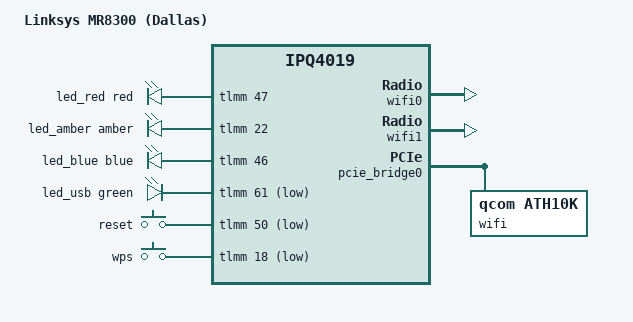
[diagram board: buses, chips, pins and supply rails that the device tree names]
// SPDX-License-Identifier: GPL-2.0-or-later OR MIT

#include <dt-bindings/leds/common.h>

#include "qcom-ipq4019-xx8300.dtsi"

/ {
	model = "Linksys MR8300 (Dallas)";
	compatible = "linksys,mr8300", "qcom,ipq4019";

	aliases {
		led-boot = &led_blue;
		led-failsafe = &led_red;
		led-running = &led_blue;
		led-upgrade = &led_amber;
		serial0 = &blsp1_uart1;
	};

	// Top panel LEDs, above Linksys logo
	leds {
		compatible = "gpio-leds";

		led_red: red {
			function = LED_FUNCTION_ALARM;
			color = <LED_COLOR_ID_RED>;
			gpios = <&tlmm 47 GPIO_ACTIVE_HIGH>;
		};

		led_amber: amber {
			function = LED_FUNCTION_PROGRAMMING;
			color = <LED_COLOR_ID_AMBER>;
			gpios = <&tlmm 22 GPIO_ACTIVE_HIGH>;
			panic-indicator;
		};

		led_blue: blue {
			function = LED_FUNCTION_POWER;
			color = <LED_COLOR_ID_BLUE>;
			gpios = <&tlmm 46 GPIO_ACTIVE_HIGH>;
		};

		// On back panel, above USB socket

		led_usb: usb {
			function = LED_FUNCTION_USB;
			color = <LED_COLOR_ID_GREEN>;
			gpios = <&tlmm 61 GPIO_ACTIVE_LOW>;
			trigger-sources = <&usb3_port1>, <&usb3_port2>,
					  <&usb2_port1>;
			linux,default-trigger = "usbport";
		};
	};

	keys {
		compatible = "gpio-keys";

		reset {
			label = "reset";
			linux,code = <KEY_RESTART>;
			gpios = <&tlmm 50 GPIO_ACTIVE_LOW>;
		};

		wps {
			label = "wps";
			linux,code = <KEY_WPS_BUTTON>;
			gpios = <&tlmm 18 GPIO_ACTIVE_LOW>;
		};
	};
};

&wifi0 {
	status = "okay";
	qcom,ath10k-calibration-variant = "linksys-mr8300-v0-fcc";
};

&wifi1 {
	status = "okay";
	ieee80211-freq-limit = <5170000 5330000>;
	qcom,ath10k-calibration-variant = "linksys-mr8300-v0-fcc";
};

&pcie_bridge0 {
	wifi@1,0 {
		compatible = "qcom,ath10k";
		reg = <0x00010000 0 0 0 0>;
		ieee80211-freq-limit = <5490000 5835000>;
		qcom,ath10k-calibration-variant = "linksys-mr8300-v0-fcc";
	};
};
